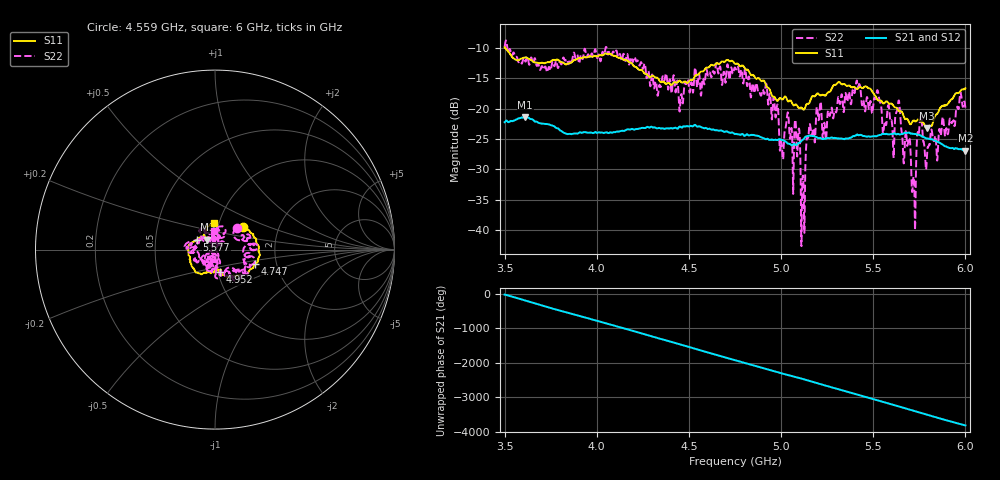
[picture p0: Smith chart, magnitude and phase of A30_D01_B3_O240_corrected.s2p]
! Created with skrf 1.9.0 (http://scikit-rf.org).
# Hz S RI R 50.0
!freq ReS11 ImS11 ReS21 ImS21 ReS12 ImS12 ReS22 ImS22
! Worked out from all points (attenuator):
!   1601 points, 3.5 GHz to 6 GHz, reference 50 ohm
!   highest |S21| = -21.41 dB at 3.611 GHz (marker M1); lowest = -26.9 dB at 6 GHz (marker M2)
!   lowest |S11| = -23.2 dB at 5.791 GHz (marker M3), VSWR 1.15, Z = 45.7 + j5.05 ohm
!   |S11| at or under -10 dB: 3.504 GHz to end of sweep
!   |S22| runs from -42.6 to -8.8 dB; largest |S21 - S12| = 0.0012
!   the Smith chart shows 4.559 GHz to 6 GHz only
!   S11 on the Smith chart (normalised r, x): 4.559 GHz: 1.32, +0.34; 4.747 GHz: 1.54, -0.26; 4.952 GHz: 1.03, -0.26; 5.577 GHz: 0.81, +0.09; 6 GHz: 0.94, +0.28
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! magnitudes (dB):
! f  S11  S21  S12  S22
! 3.5 GHz  -9.9  -22.2  -22.2  -9.8
! 3.611 GHz  -11.5  -21.4  -21.4  -12.1
! 3.917 GHz  -11.7  -24.0  -24.0  -11.2
! 4.334 GHz  -15.1  -23.2  -23.1  -17.2
! 4.559 GHz  -14.1  -22.9  -22.9  -15.4
! 4.747 GHz  -12.5  -24.2  -24.1  -13.4
! 4.75 GHz  -12.6  -24.2  -24.1  -13.2
! 4.952 GHz  -17.9  -25.1  -25.1  -21.3
! 5.003 GHz  -18.4  -25.2  -25.2  -25.7
! 5.031 GHz  -18.4  -25.6  -25.5  -21.5
! 5.088 GHz  -19.5  -25.9  -25.8  -27.9
! 5.119 GHz  -20.1  -25.1  -25.0  -31.0
! 5.145 GHz  -19.2  -24.5  -24.5  -24.7
! 5.167 GHz  -18.0  -24.5  -24.5  -24.4
! 5.417 GHz  -16.7  -24.3  -24.4  -16.4
! 5.577 GHz  -18.9  -24.2  -24.2  -20.3
! 5.584 GHz  -19.2  -24.2  -24.2  -19.5
! 5.638 GHz  -20.3  -24.2  -24.1  -18.7
! 5.719 GHz  -21.9  -24.1  -24.1  -31.2
! 5.752 GHz  -21.9  -24.3  -24.3  -22.5
! 5.791 GHz  -23.2  -24.9  -24.8  -28.3
! 6 GHz  -16.6  -26.9  -26.8  -19.9
